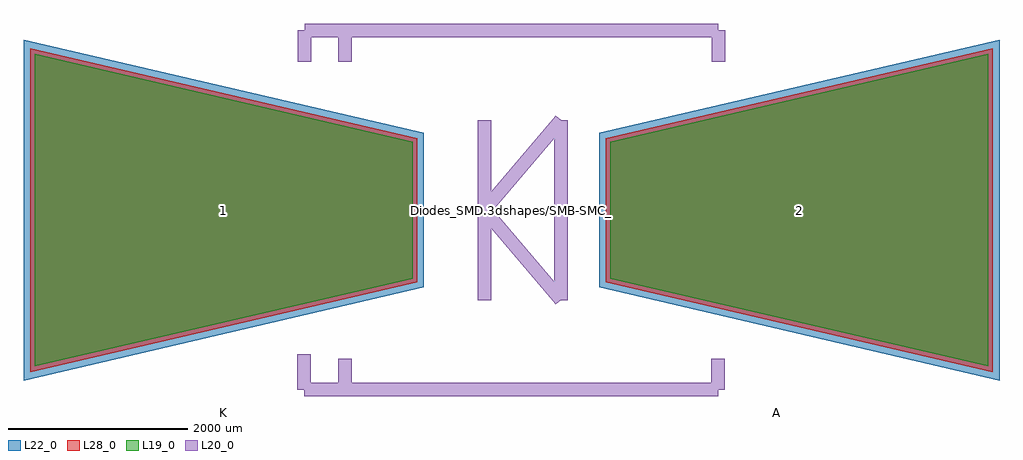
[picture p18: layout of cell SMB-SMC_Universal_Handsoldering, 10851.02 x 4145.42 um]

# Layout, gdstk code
import gdstk
lib = gdstk.Library(unit=1e-6, precision=1e-09)
def P(c, l, *ps):  # polygons
    for p in ps: c.add(gdstk.Polygon(p, *l))
L19_0 = (19, 0)
L20_0 = (20, 0)
L22_0 = (22, 0)
L28_0 = (28, 0)

smb_smc_universal_handso = lib.new_cell('SMB-SMC_Universal_Handsoldering')
P(smb_smc_universal_handso, L19_0, [(1100.29,-760.4),(1100.29,760.4),(5300.51,1737.887),(5300.51,-1737.887)],
  [(-5300.51,-1737.887),(-5300.51,1737.887),(-1100.29,760.4),(-1100.29,-760.4)])
P(smb_smc_universal_handso, L22_0, [(975.29,-859.65),(975.29,859.65),(5425.51,1895.319),(5425.51,-1895.319)],
  [(-5425.51,-1895.319),(-5425.51,1895.319),(-975.29,859.65),(-975.29,-859.65)])
P(smb_smc_universal_handso, L28_0, [(1050.29,-800.1),(1050.29,800.1),(5350.51,1800.86),(5350.51,-1800.86)],
  [(-5350.51,-1800.86),(-5350.51,1800.86),(-1050.29,800.1),(-1050.29,-800.1)])
smb_smc_universal_handso.add(gdstk.FlexPath([(2301.24,1998.98),(2301.24,1800.86)], 149.998, ends="flush", simple_path=True, layer=20, datatype=0))  # L20_0
smb_smc_universal_handso.add(gdstk.FlexPath([(-2301.24,1998.98),(2301.24,1998.98)], 149.998, ends="flush", simple_path=True, layer=20, datatype=0))  # L20_0
smb_smc_universal_handso.add(gdstk.FlexPath([(-2301.24,1998.98),(-2301.24,1800.86)], 149.998, ends="flush", simple_path=True, layer=20, datatype=0))  # L20_0
smb_smc_universal_handso.add(gdstk.FlexPath([(-2306.32,-1996.44),(-2306.32,-1798.32)], 149.998, ends="flush", simple_path=True, layer=20, datatype=0))  # L20_0
smb_smc_universal_handso.add(gdstk.FlexPath([(-2306.32,-1996.44),(2296.16,-1996.44)], 149.998, ends="flush", simple_path=True, layer=20, datatype=0))  # L20_0
smb_smc_universal_handso.add(gdstk.FlexPath([(2296.16,-1996.44),(2296.16,-1798.32)], 149.998, ends="flush", simple_path=True, layer=20, datatype=0))  # L20_0
smb_smc_universal_handso.add(gdstk.FlexPath([(-1849.28,1998.98),(-1849.28,1800.86)], 149.998, ends="flush", simple_path=True, layer=20, datatype=0))  # L20_0
smb_smc_universal_handso.add(gdstk.FlexPath([(-1849.28,-1948.98),(-1849.28,-1750.86)], 149.998, ends="flush", simple_path=True, layer=20, datatype=0))  # L20_0
smb_smc_universal_handso.add(gdstk.FlexPath([(2301.24,1800),(2301.24,1651)], 149.998, ends="flush", simple_path=True, layer=20, datatype=0))  # L20_0
smb_smc_universal_handso.add(gdstk.FlexPath([(-1849.28,1800),(-1849.28,1651)], 149.998, ends="flush", simple_path=True, layer=20, datatype=0))  # L20_0
smb_smc_universal_handso.add(gdstk.FlexPath([(-2301.24,1800),(-2301.24,1651)], 149.998, ends="flush", simple_path=True, layer=20, datatype=0))  # L20_0
smb_smc_universal_handso.add(gdstk.FlexPath([(2296.16,-1800),(2296.16,-1651)], 149.998, ends="flush", simple_path=True, layer=20, datatype=0))  # L20_0
smb_smc_universal_handso.add(gdstk.FlexPath([(-1849.28,-1750.06),(-1849.28,-1651)], 149.998, ends="flush", simple_path=True, layer=20, datatype=0))  # L20_0
smb_smc_universal_handso.add(gdstk.FlexPath([(-2306.32,-1800),(-2306.32,-1600.2)], 149.998, ends="flush", simple_path=True, layer=20, datatype=0))  # L20_0
smb_smc_universal_handso.add(gdstk.FlexPath([(-299.58,0),(-299.58,1000.76)], 149.998, ends="flush", simple_path=True, layer=20, datatype=0))  # L20_0
smb_smc_universal_handso.add(gdstk.FlexPath([(-299.58,0),(-299.58,-1000.76)], 149.998, ends="flush", simple_path=True, layer=20, datatype=0))  # L20_0
smb_smc_universal_handso.add(gdstk.FlexPath([(548.78,-1000.76),(-299.58,0)], 149.998, ends="flush", simple_path=True, layer=20, datatype=0))  # L20_0
smb_smc_universal_handso.add(gdstk.FlexPath([(548.78,1000.76),(548.78,-1000.76)], 149.998, ends="flush", simple_path=True, layer=20, datatype=0))  # L20_0
smb_smc_universal_handso.add(gdstk.FlexPath([(-299.58,0),(548.78,1000.76)], 149.998, ends="flush", simple_path=True, layer=20, datatype=0))  # L20_0
smb_smc_universal_handso.add(gdstk.Label('Diodes_SMD.3dshapes/SMB-SMC_Universal_Handsoldering.wrl', (0,0), layer=12, texttype=0))
smb_smc_universal_handso.add(gdstk.Label('2', (3200.4,0), layer=28, texttype=0))
smb_smc_universal_handso.add(gdstk.Label('1', (-3200.4,0), layer=28, texttype=0))
smb_smc_universal_handso.add(gdstk.Label('A', (2950,-2250), layer=9, texttype=0))
smb_smc_universal_handso.add(gdstk.Label('K', (-3200,-2250), layer=9, texttype=0))
smb_smc_universal_handso.add(gdstk.Label('type', (0,-3810), layer=9, texttype=0))
smb_smc_universal_handso.add(gdstk.Label('devicename', (0,3810), layer=9, texttype=0))

lib.write_gds('SMB-SMC_Universal_Handsoldering.gds')
